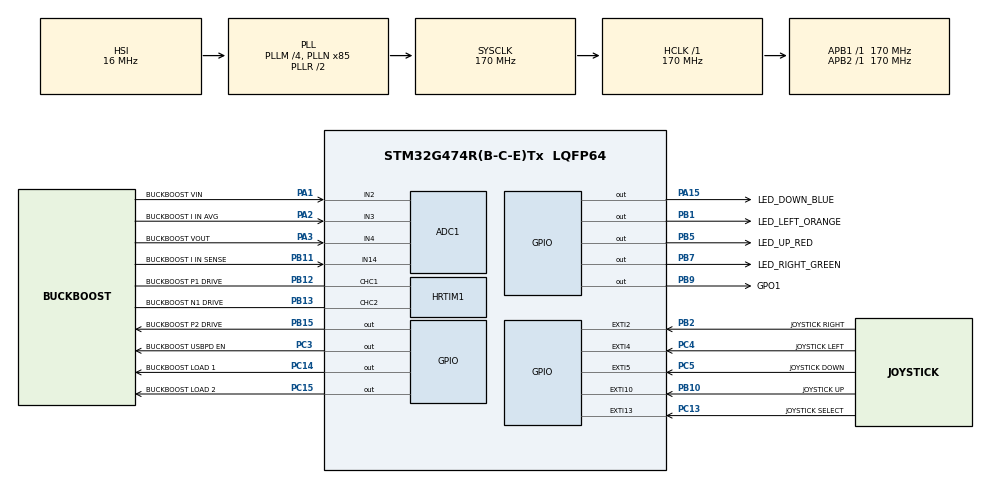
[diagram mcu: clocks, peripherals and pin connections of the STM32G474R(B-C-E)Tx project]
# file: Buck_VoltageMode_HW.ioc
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ADC1.Channel-0\#ChannelRegularConversion=ADC_CHANNEL_4
ADC1.DMAContinuousRequests=ENABLE
ADC1.DataAlign=ADC_DATAALIGN_LEFT
ADC1.ExternalTrigConv=ADC_EXTERNALTRIG_HRTIM_TRG1
ADC1.NbrOfConversionFlag=1
ADC1.Offset-0\#ChannelRegularConversion=REF
ADC1.OffsetNumber-0\#ChannelRegularConversion=ADC_OFFSET_1
ADC1.Overrun=ADC_OVR_DATA_OVERWRITTEN
ADC1.Rank-0\#ChannelRegularConversion=1
ADC1.SamplingTime-0\#ChannelRegularConversion=ADC_SAMPLETIME_2CYCLES_5
ADC1.master=1
Dma.ADC1.0.Direction=DMA_PERIPH_TO_MEMORY
Dma.ADC1.0.EventEnable=DISABLE
Dma.ADC1.0.Instance=DMA1_Channel1
Dma.ADC1.0.MemDataAlignment=DMA_MDATAALIGN_WORD
Dma.ADC1.0.MemInc=DMA_MINC_DISABLE
Dma.ADC1.0.Mode=DMA_CIRCULAR
Dma.ADC1.0.PeriphDataAlignment=DMA_PDATAALIGN_WORD
Dma.ADC1.0.PeriphInc=DMA_PINC_DISABLE
Dma.ADC1.0.Polarity=HAL_DMAMUX_REQ_GEN_RISING
Dma.ADC1.0.Priority=DMA_PRIORITY_LOW
Dma.ADC1.0.RequestNumber=1
Dma.ADC1.0.SignalID=HAL_DMAMUX1_REQ_GEN_EXTI2
Dma.ADC1.0.SyncEnable=DISABLE
Dma.ADC1.0.SyncPolarity=HAL_DMAMUX_SYNC_NO_EVENT
Dma.ADC1.0.SyncRequestNumber=1
Dma.ADC1.0.SyncSignalID=NONE
Dma.Request0=ADC1
HRTIM1.ADCTrigger1_Source1=HRTIM_ADCTRIGGEREVENT13_TIMERC_CMP3
HRTIM1.ADCTrigger_Id1=HRTIM_ADCTRIGGER_1
HRTIM1.CompareUnit1-Output_TC1TC2=HRTIM_COMPAREUNIT_1
HRTIM1.CompareUnit2-Output_TC1TC2=HRTIM_COMPAREUNIT_2
HRTIM1.CompareUnit3-Output_TC1TC2=HRTIM_COMPAREUNIT_3
HRTIM1.CompareValue1-Output_TC1TC2=0
HRTIM1.CompareValue2-Output_TC1TC2=24480
HRTIM1.CompareValue3-Output_TC1TC2=50
HRTIM1.DeadTimeInsertion-Output_TC1TC2=HRTIM_TIMDEADTIMEINSERTION_ENABLED
HRTIM1.FallingValue-Output_TC1TC2=300
HRTIM1.FaultLevel1-Output_TC1TC2=HRTIM_OUTPUTFAULTLEVEL_INACTIVE
HRTIM1.FaultLevel2-Output_TC1TC2=HRTIM_OUTPUTFAULTLEVEL_INACTIVE
HRTIM1.GreaterCMP1_TC=HRTIM_TIMERGTCMP1_EQUAL
HRTIM1.NumberADCTriggerSource1=1
HRTIM1.NumberResetSource1-Output_TC1TC2=2
HRTIM1.NumberSetSource1-Output_TC1TC2=1
HRTIM1.Periode_TC=27200
HRTIM1.PreloadEnable-Output_TC1TC2=HRTIM_PRELOAD_DISABLED
HRTIM1.ResetOutput1_Source1-Output_TC1TC2=HRTIM_OUTPUTRESET_TIMCMP1
HRTIM1.ResetOutput1_Source2-Output_TC1TC2=HRTIM_OUTPUTRESET_TIMCMP2
HRTIM1.RisingValue-Output_TC1TC2=75
HRTIM1.SetOutput1_Source1-Output_TC1TC2=HRTIM_OUTPUTSET_TIMPER
Mcu.Family=STM32G4
Mcu.Name=STM32G474R(B-C-E)Tx
Mcu.Package=LQFP64
NVIC.DMA1_Channel1_IRQn=true\:0\:0\:false\:false\:false\:false\:false
NVIC.EXTI15_10_IRQn=true\:0\:0\:false\:false\:true\:true\:true
NVIC.EXTI2_IRQn=true\:0\:0\:false\:false\:true\:true\:true
NVIC.EXTI4_IRQn=true\:0\:0\:false\:false\:true\:true\:true
NVIC.EXTI9_5_IRQn=true\:0\:0\:false\:false\:true\:true\:true
NVIC.FMAC_IRQn=true\:0\:0\:false\:false\:true\:true\:false
NVIC.PriorityGroup=NVIC_PRIORITYGROUP_4
PA1.GPIO_Label=BUCKBOOST VIN
PA1.Mode=IN2-Single-Ended
PA1.Signal=ADC1_IN2
PA13.GPIO_Label=T_SWDIO
PA13.Mode=Trace_Asynchronous_SW
PA13.Signal=SYS_JTMS-SWDIO
PA14.GPIO_Label=T_SWCLK
PA14.Mode=Trace_Asynchronous_SW
PA14.Signal=SYS_JTCK-SWCLK
PA15.GPIO_Label=LED_DOWN_BLUE
PA15.GPIO_PuPd=GPIO_NOPULL
PA15.Signal=GPIO_Output
PA2.GPIO_Label=BUCKBOOST I IN AVG
PA2.Mode=IN3-Single-Ended
PA2.Signal=ADC1_IN3
PA3.GPIO_Label=BUCKBOOST VOUT
PA3.Mode=IN4-Single-Ended
PA3.Signal=ADC1_IN4
PB1.GPIO_Label=LED_LEFT_ORANGE
PB1.GPIO_PuPd=GPIO_NOPULL
PB1.Signal=GPIO_Output
PB10.GPIO_Label=JOYSTICK UP
PB10.GPIO_PuPd=GPIO_PULLUP
PB10.Signal=GPXTI10
PB11.GPIO_Label=BUCKBOOST I IN SENSE
PB11.Mode=IN14-Single-Ended
PB11.Signal=ADC1_IN14
PB12.GPIO_Label=BUCKBOOST P1 DRIVE
PB12.Mode=Output_TC1TC2
PB12.Signal=HRTIM1_CHC1
PB13.GPIO_Label=BUCKBOOST N1 DRIVE
PB13.Mode=Output_TC1TC2
PB13.Signal=HRTIM1_CHC2
PB14.GPIO_Label=BUCKBOOST N2 DRIVE
PB14.Signal=HRTIM1_CHD1
PB15.GPIO_Label=BUCKBOOST P2 DRIVE
PB15.Signal=GPIO_Output
PB2.GPIO_Label=JOYSTICK RIGHT
PB2.GPIO_ModeDefaultEXTI=GPIO_MODE_IT_RISING
PB2.GPIO_PuPd=GPIO_PULLUP
PB2.Signal=GPXTI2
PB3.GPIO_Label=T_SWO
PB3.Mode=Trace_Asynchronous_SW
PB3.Signal=SYS_JTDO-SWO
PB5.GPIO_Label=LED_UP_RED
PB5.GPIO_PuPd=GPIO_NOPULL
PB5.Signal=GPIO_Output
PB7.GPIO_Label=LED_RIGHT_GREEN
PB7.GPIO_PuPd=GPIO_NOPULL
PB7.Signal=GPIO_Output
PB9.GPIO_Label=GPO1
PB9.GPIO_Speed=GPIO_SPEED_FREQ_VERY_HIGH
PB9.Signal=GPIO_Output
PC10.Signal=USART3_TX
PC11.Signal=USART3_RX
PC13.GPIO_Label=JOYSTICK SELECT
PC13.GPIO_PuPd=GPIO_PULLUP
PC13.Signal=GPXTI13
PC14-OSC32_IN.GPIO_Label=BUCKBOOST LOAD 1
PC14-OSC32_IN.Signal=GPIO_Output
PC15-OSC32_OUT.GPIO_Label=BUCKBOOST LOAD 2
PC15-OSC32_OUT.Signal=GPIO_Output
PC3.GPIO_Label=BUCKBOOST USBPD EN
PC3.PinState=GPIO_PIN_SET
PC3.Signal=GPIO_Output
PC4.GPIO_Label=JOYSTICK LEFT
PC4.GPIO_PuPd=GPIO_PULLUP
PC4.Signal=GPXTI4
PC5.GPIO_Label=JOYSTICK DOWN
PC5.GPIO_PuPd=GPIO_PULLUP
PC5.Signal=GPXTI5
ProjectManager.HeapSize=0x200
ProjectManager.StackSize=0x400
ProjectManager.TargetToolchain=MDK-ARM V5.27
RCC.ADC12CLockSelection=RCC_ADC12CLKSOURCE_PLL
RCC.ADC12Freq_Value=34000000
RCC.ADC345Freq_Value=170000000
RCC.AHBFreq_Value=170000000
RCC.APB1Freq_Value=170000000
RCC.APB1TimFreq_Value=170000000
RCC.APB2Freq_Value=170000000
RCC.APB2TimFreq_Value=170000000
RCC.CortexFreq_Value=170000000
RCC.EXTERNAL_CLOCK_VALUE=12288000
RCC.HCLKFreq_Value=170000000
RCC.HSE_VALUE=24000000
RCC.HSI48_VALUE=48000000
RCC.HSI_VALUE=16000000
RCC.LSE_VALUE=32768
RCC.PLLM=RCC_PLLM_DIV4
RCC.PLLN=85
RCC.PLLP=RCC_PLLP_DIV10
RCC.SYSCLKFreq_VALUE=170000000
RCC.SYSCLKSource=RCC_SYSCLKSOURCE_PLLCLK
RCC.USBFreq_Value=170000000
RCC.VCOOutputFreq_Value=340000000
VP_FMAC_VS_FMAC.Mode=FMAC_Activate
VP_RTC_VS_RTC_Activate.Mode=RTC_Enabled
VP_SYS_VS_DBSignals.Mode=DisableDeadBatterySignals
board=NUCLEO-G474RE

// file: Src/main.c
/* USER CODE BEGIN Header */
/**
  ******************************************************************************
  * @file           : main.c
  * @brief          : Main program body
  ******************************************************************************
  * @attention
  *
  * <h2><center>&copy; Copyright (c) 2019 STMicroelectronics.
  * All rights reserved.</center></h2>
  *
  * This software component is licensed by ST under BSD 3-Clause license,
  * the "License"; You may not use this file except in compliance with the
  * License. You may obtain a copy of the License at:
  *                        opensource.org/licenses/BSD-3-Clause
  *
  ******************************************************************************
  */
/* USER CODE END Header */
#include "main.h"

/* USER CODE BEGIN Includes */
#include "../../common/STM32G474RE_Discovery.c" //include functions for board
#include "stm32g4xx_it.h"
/* USER CODE END Includes */

/* USER CODE BEGIN PD */
//#define RUN_OPEN_LOOP
/* USER CODE END PD */

ADC_HandleTypeDef hadc1;
DMA_HandleTypeDef hdma_adc1;

FMAC_HandleTypeDef hfmac;

HRTIM_HandleTypeDef hhrtim1;

RTC_HandleTypeDef hrtc;

/* USER CODE BEGIN PV */
/* FMAC configuration structure */
FMAC_FilterConfigTypeDef sFmacConfig;
DMA_HandleTypeDef hdma_fmac_read;

/* Array of filter coefficients A (feedback coefficients) in Q1.15 format */
static int16_t aFilterCoeffA[COEFF_VECTOR_A_SIZE] = {A1,A2,A3};

/* Array of filter coefficients B (feed-forward taps) in Q1.15 format */
static int16_t aFilterCoeffB[COEFF_VECTOR_B_SIZE] = {(int16_t)-B0,(int16_t)-B1,(int16_t)-B2,(int16_t)-B3};

/* Array of output data to preload in Q1.15 format */
static int16_t aOutputDataToPreload[COEFF_VECTOR_A_SIZE] = {0x0000, 0x0000, 0x0000};

/* Expected number of calculated samples */
uint16_t ExpectedCalculatedOutputSize = (uint16_t) 1;
uint32_t *Fmac_Wdata;
int16_t Fmac_output;
int16_t bTransient = 0;
int32_t Vout;
int32_t CompareReg;

/* USER CODE END PV */

void SystemClock_Config(void);
static void MX_GPIO_Init(void);
static void MX_DMA_Init(void);
static void MX_RTC_Init(void);
static void MX_ADC1_Init(void);
static void MX_HRTIM1_Init(void);
static void MX_FMAC_Init(void);

/* USER CODE BEGIN 0 */
/**
  * @brief This function handles the loads.
  */
void LoadHandler(void)
{
  switch (Demo.NbrActiveLoad)
  {
  case 2:
    /* Enable Load_1 */
    HAL_GPIO_WritePin(GPIOC, BUCKBOOST_LOAD_1_Pin, GPIO_PIN_SET);
    HAL_GPIO_WritePin(GPIOB, LED_RIGHT_GREEN_Pin, GPIO_PIN_SET);
    /* Enable Load_2 */
    HAL_GPIO_WritePin(GPIOC, BUCKBOOST_LOAD_2_Pin, GPIO_PIN_SET);
    HAL_GPIO_WritePin(GPIOB, LED_LEFT_ORANGE_Pin, GPIO_PIN_SET);
    break;
  case 1:
    /* Enable Load_1 */
    HAL_GPIO_WritePin(GPIOC, BUCKBOOST_LOAD_1_Pin, GPIO_PIN_SET);
    HAL_GPIO_WritePin(GPIOB, LED_RIGHT_GREEN_Pin, GPIO_PIN_SET);
    /* Disable Load_2 */
    HAL_GPIO_WritePin(GPIOC, BUCKBOOST_LOAD_2_Pin, GPIO_PIN_RESET);
    HAL_GPIO_WritePin(GPIOB, LED_LEFT_ORANGE_Pin, GPIO_PIN_RESET);
    break;
  case 0:
  default:
    /* Disable Load_1 */
    HAL_GPIO_WritePin(GPIOC, BUCKBOOST_LOAD_1_Pin, GPIO_PIN_RESET);
    HAL_GPIO_WritePin(GPIOB, LED_RIGHT_GREEN_Pin, GPIO_PIN_RESET);
    /* Disable Load_2 */
    HAL_GPIO_WritePin(GPIOC, BUCKBOOST_LOAD_2_Pin, GPIO_PIN_RESET);
    HAL_GPIO_WritePin(GPIOB, LED_LEFT_ORANGE_Pin, GPIO_PIN_RESET);
    break;
  }
}

/**
  * @brief This function handles System tick timer.
  */
void SysTick_Handler(void)
{
  /* USER CODE BEGIN SysTick_IRQn 0 */

  // If ~512 ms has elapsed, check if we are doing transient load mode
  // and run the load handler
  if (0 == HAL_GetTick() % 512)
  {
    if (Demo.bTransient == 1)
    {
      if (Demo.NbrActiveLoad == 1)
      {
        Demo.NbrActiveLoad = 2;
      }
      else
      {
        Demo.NbrActiveLoad = 1;
      }
      LoadHandler();
    }
  }

  /* USER CODE END SysTick_IRQn 0 */
  HAL_IncTick();
  /* USER CODE BEGIN SysTick_IRQn 1 */

  /* USER CODE END SysTick_IRQn 1 */
}
/* USER CODE END 0 */

int main(void)
{

  /* MCU Configuration--------------------------------------------------------*/

  /* Reset of all peripherals, Initializes the Flash interface and the Systick. */
  HAL_Init();

  /* Configure the system clock */
  SystemClock_Config();

  /* Initialize all configured peripherals */
  MX_GPIO_Init();
  MX_DMA_Init();
  MX_RTC_Init();
  MX_ADC1_Init();
  MX_HRTIM1_Init();
  MX_FMAC_Init();
  /* USER CODE BEGIN 2 */

     /*## Configure the FMAC peripheral ###########################################*/
  sFmacConfig.InputBaseAddress  = INPUT_BUFFER_BASE;
  sFmacConfig.InputBufferSize   = INPUT_BUFFER_SIZE;
  sFmacConfig.InputThreshold    = INPUT_THRESHOLD;
  sFmacConfig.CoeffBaseAddress  = COEFFICIENT_BUFFER_BASE;
  sFmacConfig.CoeffBufferSize   = COEFFICIENT_BUFFER_SIZE;
  sFmacConfig.OutputBaseAddress = OUTPUT_BUFFER_BASE;
  sFmacConfig.OutputBufferSize  = OUTPUT_BUFFER_SIZE;
  sFmacConfig.OutputThreshold   = OUTPUT_THRESHOLD;
  sFmacConfig.pCoeffA           = aFilterCoeffA;
  sFmacConfig.CoeffASize        = COEFF_VECTOR_A_SIZE;
  sFmacConfig.pCoeffB           = aFilterCoeffB;
  sFmacConfig.CoeffBSize        = COEFF_VECTOR_B_SIZE;
  sFmacConfig.Filter            = FMAC_FUNC_IIR_DIRECT_FORM_1;
  sFmacConfig.InputAccess       = FMAC_BUFFER_ACCESS_NONE;
  sFmacConfig.OutputAccess      = FMAC_BUFFER_ACCESS_IT;
  sFmacConfig.Clip              = FMAC_CLIP_ENABLED;
  sFmacConfig.P                 = COEFF_VECTOR_B_SIZE;
  sFmacConfig.Q                 = COEFF_VECTOR_A_SIZE;
  sFmacConfig.R                 = post_shift;

  if (HAL_FMAC_FilterConfig(&hfmac, &sFmacConfig) != HAL_OK)
  {
    /* Configuration Error */
    Error_Handler();
  }

  /*## Preload the input and output buffers ####################################*/
  if (HAL_FMAC_FilterPreload(&hfmac, NULL, INPUT_BUFFER_SIZE,
                           aOutputDataToPreload, COEFF_VECTOR_A_SIZE) != HAL_OK)
  {
    /* Configuration Error */
    Error_Handler();
  }
  /* Start calculation of IIR filter */
   if (HAL_FMAC_FilterStart(&hfmac,&Fmac_output,&ExpectedCalculatedOutputSize) != HAL_OK)
  {
    /* Processing Error */
    Error_Handler();
  }

  /* Perform an ADC automatic self-calibration and enable ADC */
  if (HAL_ADCEx_Calibration_Start(&hadc1, ADC_SINGLE_ENDED) != HAL_OK)
  {
    /* Configuration Error */
    Error_Handler();
  }

#ifndef RUN_OPEN_LOOP
  /* Start the DMA which is used to move ADC result to the FMAC */
  if (HAL_ADC_Start_DMA(&hadc1, (uint32_t *) &hfmac.Instance->WDATA, 1) != HAL_OK)
  {
    /* Configuration Error */
    Error_Handler();
  }
#endif

  /* Calculate PWM period and update timer register */
  Demo.periodBuck = HAL_HRTIM_FreqToTicks(&hhrtim1, HRTIM_TIMERINDEX_TIMER_C, SwitchFreq);
  __HAL_HRTIM_SETPERIOD(&hhrtim1, HRTIM_TIMERINDEX_TIMER_C, Demo.periodBuck);

#ifdef RUN_OPEN_LOOP
  /* Open loop so run with a small fixed duty cycle */
  __HAL_HRTIM_SETCOMPARE(&hhrtim1, HRTIM_TIMERINDEX_TIMER_C, HRTIM_COMPAREUNIT_1, Demo.periodBuck * 5 / 100);
#else
  /* Set max duty to 80% of period */
  __HAL_HRTIM_SETCOMPARE(&hhrtim1, HRTIM_TIMERINDEX_TIMER_C, HRTIM_COMPAREUNIT_1, Demo.periodBuck * 80 / 100);
#endif

  /* Start the PWMs */
  HAL_HRTIM_WaveformOutputStart(&hhrtim1, HRTIM_OUTPUT_TC1 | HRTIM_OUTPUT_TC2);
  HAL_HRTIM_WaveformCounterStart(&hhrtim1, HRTIM_TIMERID_TIMER_C);

  /* Enable T6 for Buck only mode usage */
  HAL_GPIO_WritePin(GPIOB, BUCKBOOST_P2_DRIVE_Pin, GPIO_PIN_SET);

  Waveform.m_State = WAVEFORM_WAIT_FOR_TRIGGER;

  /* USER CODE END 2 */

  /* Infinite loop */
  /* USER CODE BEGIN WHILE */
  while (1)
  {
    if (bTransient)
    {

      HAL_GPIO_WritePin(GPIOA, LED_DOWN_BLUE_Pin, GPIO_PIN_SET);

      // Toggle both Loads
      HAL_GPIO_TogglePin(GPIOC, BUCKBOOST_LOAD_1_Pin);
      HAL_GPIO_TogglePin(GPIOC, BUCKBOOST_LOAD_2_Pin);
      HAL_GPIO_TogglePin(GPIOB, LED_RIGHT_GREEN_Pin);
      HAL_GPIO_TogglePin(GPIOB, LED_LEFT_ORANGE_Pin);

      // Delay
      HAL_Delay(500);
    } else {
      HAL_GPIO_WritePin(GPIOA, LED_DOWN_BLUE_Pin, GPIO_PIN_RESET);
    }

    /* USER CODE END WHILE */

  }
}

void SystemClock_Config(void)
{
  RCC_OscInitTypeDef RCC_OscInitStruct = {0};
  RCC_ClkInitTypeDef RCC_ClkInitStruct = {0};
  RCC_PeriphCLKInitTypeDef PeriphClkInit = {0};

  /** Configure the main internal regulator output voltage
  */
  HAL_PWREx_ControlVoltageScaling(PWR_REGULATOR_VOLTAGE_SCALE1_BOOST);
  /** Initializes the RCC Oscillators according to the specified parameters
  * in the RCC_OscInitTypeDef structure.
  */
  RCC_OscInitStruct.OscillatorType = RCC_OSCILLATORTYPE_HSI|RCC_OSCILLATORTYPE_LSI;
  RCC_OscInitStruct.HSIState = RCC_HSI_ON;
  RCC_OscInitStruct.HSICalibrationValue = RCC_HSICALIBRATION_DEFAULT;
  RCC_OscInitStruct.LSIState = RCC_LSI_ON;
  RCC_OscInitStruct.PLL.PLLState = RCC_PLL_ON;
  RCC_OscInitStruct.PLL.PLLSource = RCC_PLLSOURCE_HSI;
  RCC_OscInitStruct.PLL.PLLM = RCC_PLLM_DIV4;
  RCC_OscInitStruct.PLL.PLLN = 85;
  RCC_OscInitStruct.PLL.PLLP = RCC_PLLP_DIV10;
  RCC_OscInitStruct.PLL.PLLQ = RCC_PLLQ_DIV2;
  RCC_OscInitStruct.PLL.PLLR = RCC_PLLR_DIV2;
  if (HAL_RCC_OscConfig(&RCC_OscInitStruct) != HAL_OK)
  {
    Error_Handler();
  }
  /** Initializes the CPU, AHB and APB buses clocks
  */
  RCC_ClkInitStruct.ClockType = RCC_CLOCKTYPE_HCLK|RCC_CLOCKTYPE_SYSCLK
                              |RCC_CLOCKTYPE_PCLK1|RCC_CLOCKTYPE_PCLK2;
  RCC_ClkInitStruct.SYSCLKSource = RCC_SYSCLKSOURCE_PLLCLK;
  RCC_ClkInitStruct.AHBCLKDivider = RCC_SYSCLK_DIV1;
  RCC_ClkInitStruct.APB1CLKDivider = RCC_HCLK_DIV1;
  RCC_ClkInitStruct.APB2CLKDivider = RCC_HCLK_DIV1;

  if (HAL_RCC_ClockConfig(&RCC_ClkInitStruct, FLASH_LATENCY_4) != HAL_OK)
  {
    Error_Handler();
  }
  /** Initializes the peripherals clocks
  */
  PeriphClkInit.PeriphClockSelection = RCC_PERIPHCLK_RTC|RCC_PERIPHCLK_ADC12;
  PeriphClkInit.Adc12ClockSelection = RCC_ADC12CLKSOURCE_PLL;
  PeriphClkInit.RTCClockSelection = RCC_RTCCLKSOURCE_LSI;
  if (HAL_RCCEx_PeriphCLKConfig(&PeriphClkInit) != HAL_OK)
  {
    Error_Handler();
  }
}

static void MX_ADC1_Init(void)
{

  ADC_MultiModeTypeDef multimode = {0};
  ADC_ChannelConfTypeDef sConfig = {0};

  /** Common config
  */
  hadc1.Instance = ADC1;
  hadc1.Init.ClockPrescaler = ADC_CLOCK_SYNC_PCLK_DIV4;
  hadc1.Init.Resolution = ADC_RESOLUTION_12B;
  hadc1.Init.DataAlign = ADC_DATAALIGN_LEFT;
  hadc1.Init.GainCompensation = 0;
  hadc1.Init.ScanConvMode = ADC_SCAN_DISABLE;
  hadc1.Init.EOCSelection = ADC_EOC_SINGLE_CONV;
  hadc1.Init.LowPowerAutoWait = DISABLE;
  hadc1.Init.ContinuousConvMode = DISABLE;
  hadc1.Init.NbrOfConversion = 1;
  hadc1.Init.DiscontinuousConvMode = DISABLE;
  hadc1.Init.ExternalTrigConv = ADC_EXTERNALTRIG_HRTIM_TRG1;
  hadc1.Init.ExternalTrigConvEdge = ADC_EXTERNALTRIGCONVEDGE_RISING;
  hadc1.Init.DMAContinuousRequests = ENABLE;
  hadc1.Init.Overrun = ADC_OVR_DATA_OVERWRITTEN;
  hadc1.Init.OversamplingMode = DISABLE;
  if (HAL_ADC_Init(&hadc1) != HAL_OK)
  {
    Error_Handler();
  }
  /** Configure the ADC multi-mode
  */
  multimode.Mode = ADC_MODE_INDEPENDENT;
  if (HAL_ADCEx_MultiModeConfigChannel(&hadc1, &multimode) != HAL_OK)
  {
    Error_Handler();
  }
  /** Configure Regular Channel
  */
  sConfig.Channel = ADC_CHANNEL_4;
  sConfig.Rank = ADC_REGULAR_RANK_1;
  sConfig.SamplingTime = ADC_SAMPLETIME_2CYCLES_5;
  sConfig.SingleDiff = ADC_SINGLE_ENDED;
  sConfig.OffsetNumber = ADC_OFFSET_1;
  sConfig.Offset = REF;
  sConfig.OffsetSign = ADC_OFFSET_SIGN_NEGATIVE;
  sConfig.OffsetSaturation = DISABLE;
  if (HAL_ADC_ConfigChannel(&hadc1, &sConfig) != HAL_OK)
  {
    Error_Handler();
  }
  /* USER CODE BEGIN ADC1_Init 2 */
  /* CubeMX enables DMA interrupt even if not configured */
  HAL_NVIC_DisableIRQ(DMA1_Channel1_IRQn);
  /* USER CODE END ADC1_Init 2 */

}

static void MX_FMAC_Init(void)
{

  hfmac.Instance = FMAC;
  if (HAL_FMAC_Init(&hfmac) != HAL_OK)
  {
    Error_Handler();
  }

}

static void MX_HRTIM1_Init(void)
{

  HRTIM_ADCTriggerCfgTypeDef pADCTriggerCfg = {0};
  HRTIM_TimeBaseCfgTypeDef pTimeBaseCfg = {0};
  HRTIM_TimerCtlTypeDef pTimerCtl = {0};
  HRTIM_TimerCfgTypeDef pTimerCfg = {0};
  HRTIM_CompareCfgTypeDef pCompareCfg = {0};
  HRTIM_DeadTimeCfgTypeDef pDeadTimeCfg = {0};
  HRTIM_OutputCfgTypeDef pOutputCfg = {0};

  hhrtim1.Instance = HRTIM1;
  hhrtim1.Init.HRTIMInterruptResquests = HRTIM_IT_NONE;
  hhrtim1.Init.SyncOptions = HRTIM_SYNCOPTION_NONE;
  if (HAL_HRTIM_Init(&hhrtim1) != HAL_OK)
  {
    Error_Handler();
  }
  if (HAL_HRTIM_DLLCalibrationStart(&hhrtim1, HRTIM_CALIBRATIONRATE_3) != HAL_OK)
  {
    Error_Handler();
  }
  if (HAL_HRTIM_PollForDLLCalibration(&hhrtim1, 10) != HAL_OK)
  {
    Error_Handler();
  }
  pADCTriggerCfg.UpdateSource = HRTIM_ADCTRIGGERUPDATE_TIMER_C;
  pADCTriggerCfg.Trigger = HRTIM_ADCTRIGGEREVENT13_TIMERC_CMP3;
  if (HAL_HRTIM_ADCTriggerConfig(&hhrtim1, HRTIM_ADCTRIGGER_1, &pADCTriggerCfg) != HAL_OK)
  {
    Error_Handler();
  }
  if (HAL_HRTIM_ADCPostScalerConfig(&hhrtim1, HRTIM_ADCTRIGGER_1, 0x0) != HAL_OK)
  {
    Error_Handler();
  }
  pTimeBaseCfg.Period = 27200;
  pTimeBaseCfg.RepetitionCounter = 0x00;
  pTimeBaseCfg.PrescalerRatio = HRTIM_PRESCALERRATIO_MUL32;
  pTimeBaseCfg.Mode = HRTIM_MODE_CONTINUOUS;
  if (HAL_HRTIM_TimeBaseConfig(&hhrtim1, HRTIM_TIMERINDEX_TIMER_C, &pTimeBaseCfg) != HAL_OK)
  {
    Error_Handler();
  }
  pTimerCtl.UpDownMode = HRTIM_TIMERUPDOWNMODE_UP;
  pTimerCtl.TrigHalf = HRTIM_TIMERTRIGHALF_DISABLED;
  pTimerCtl.GreaterCMP3 = HRTIM_TIMERGTCMP3_EQUAL;
  pTimerCtl.GreaterCMP1 = HRTIM_TIMERGTCMP1_EQUAL;
  pTimerCtl.DualChannelDacEnable = HRTIM_TIMER_DCDE_DISABLED;
  if (HAL_HRTIM_WaveformTimerControl(&hhrtim1, HRTIM_TIMERINDEX_TIMER_C, &pTimerCtl) != HAL_OK)
  {
    Error_Handler();
  }
  pTimerCfg.InterruptRequests = HRTIM_TIM_IT_NONE;
  pTimerCfg.DMARequests = HRTIM_TIM_DMA_NONE;
  pTimerCfg.DMASrcAddress = 0x0000;
  pTimerCfg.DMADstAddress = 0x0000;
  pTimerCfg.DMASize = 0x1;
  pTimerCfg.HalfModeEnable = HRTIM_HALFMODE_DISABLED;
  pTimerCfg.InterleavedMode = HRTIM_INTERLEAVED_MODE_DISABLED;
  pTimerCfg.StartOnSync = HRTIM_SYNCSTART_DISABLED;
  pTimerCfg.ResetOnSync = HRTIM_SYNCRESET_DISABLED;
  pTimerCfg.DACSynchro = HRTIM_DACSYNC_NONE;
  pTimerCfg.PreloadEnable = HRTIM_PRELOAD_DISABLED;
  pTimerCfg.UpdateGating = HRTIM_UPDATEGATING_INDEPENDENT;
  pTimerCfg.BurstMode = HRTIM_TIMERBURSTMODE_MAINTAINCLOCK;
  pTimerCfg.RepetitionUpdate = HRTIM_UPDATEONREPETITION_DISABLED;
  pTimerCfg.PushPull = HRTIM_TIMPUSHPULLMODE_DISABLED;
  pTimerCfg.FaultEnable = HRTIM_TIMFAULTENABLE_NONE;
  pTimerCfg.FaultLock = HRTIM_TIMFAULTLOCK_READWRITE;
  pTimerCfg.DeadTimeInsertion = HRTIM_TIMDEADTIMEINSERTION_ENABLED;
  pTimerCfg.DelayedProtectionMode = HRTIM_TIMER_A_B_C_DELAYEDPROTECTION_DISABLED;
  pTimerCfg.UpdateTrigger = HRTIM_TIMUPDATETRIGGER_NONE;
  pTimerCfg.ResetTrigger = HRTIM_TIMRESETTRIGGER_NONE;
  pTimerCfg.ResetUpdate = HRTIM_TIMUPDATEONRESET_DISABLED;
  pTimerCfg.ReSyncUpdate = HRTIM_TIMERESYNC_UPDATE_UNCONDITIONAL;
  if (HAL_HRTIM_WaveformTimerConfig(&hhrtim1, HRTIM_TIMERINDEX_TIMER_C, &pTimerCfg) != HAL_OK)
  {
    Error_Handler();
  }
  pCompareCfg.CompareValue = 0;
  if (HAL_HRTIM_WaveformCompareConfig(&hhrtim1, HRTIM_TIMERINDEX_TIMER_C, HRTIM_COMPAREUNIT_1, &pCompareCfg) != HAL_OK)
  {
    Error_Handler();
  }
  pCompareCfg.CompareValue = 24480;
  pCompareCfg.AutoDelayedMode = HRTIM_AUTODELAYEDMODE_REGULAR;
  pCompareCfg.AutoDelayedTimeout = 0x0000;

  if (HAL_HRTIM_WaveformCompareConfig(&hhrtim1, HRTIM_TIMERINDEX_TIMER_C, HRTIM_COMPAREUNIT_2, &pCompareCfg) != HAL_OK)
  {
    Error_Handler();
  }
  pCompareCfg.CompareValue = 50;
  if (HAL_HRTIM_WaveformCompareConfig(&hhrtim1, HRTIM_TIMERINDEX_TIMER_C, HRTIM_COMPAREUNIT_3, &pCompareCfg) != HAL_OK)
  {
    Error_Handler();
  }
  pDeadTimeCfg.Prescaler = HRTIM_TIMDEADTIME_PRESCALERRATIO_MUL8;
  pDeadTimeCfg.RisingValue = 75;
  pDeadTimeCfg.RisingSign = HRTIM_TIMDEADTIME_RISINGSIGN_POSITIVE;
  pDeadTimeCfg.RisingLock = HRTIM_TIMDEADTIME_RISINGLOCK_WRITE;
  pDeadTimeCfg.RisingSignLock = HRTIM_TIMDEADTIME_RISINGSIGNLOCK_WRITE;
  pDeadTimeCfg.FallingValue = 300;
  pDeadTimeCfg.FallingSign = HRTIM_TIMDEADTIME_FALLINGSIGN_POSITIVE;
  pDeadTimeCfg.FallingLock = HRTIM_TIMDEADTIME_FALLINGLOCK_WRITE;
  pDeadTimeCfg.FallingSignLock = HRTIM_TIMDEADTIME_FALLINGSIGNLOCK_WRITE;
  if (HAL_HRTIM_DeadTimeConfig(&hhrtim1, HRTIM_TIMERINDEX_TIMER_C, &pDeadTimeCfg) != HAL_OK)
  {
    Error_Handler();
  }
  pOutputCfg.Polarity = HRTIM_OUTPUTPOLARITY_HIGH;
  pOutputCfg.SetSource = HRTIM_OUTPUTSET_TIMPER;
  pOutputCfg.ResetSource = HRTIM_OUTPUTRESET_TIMCMP1|HRTIM_OUTPUTRESET_TIMCMP2;
  pOutputCfg.IdleMode = HRTIM_OUTPUTIDLEMODE_NONE;
  pOutputCfg.IdleLevel = HRTIM_OUTPUTIDLELEVEL_INACTIVE;
  pOutputCfg.FaultLevel = HRTIM_OUTPUTFAULTLEVEL_INACTIVE;
  pOutputCfg.ChopperModeEnable = HRTIM_OUTPUTCHOPPERMODE_DISABLED;
  pOutputCfg.BurstModeEntryDelayed = HRTIM_OUTPUTBURSTMODEENTRY_REGULAR;
  if (HAL_HRTIM_WaveformOutputConfig(&hhrtim1, HRTIM_TIMERINDEX_TIMER_C, HRTIM_OUTPUT_TC1, &pOutputCfg) != HAL_OK)
  {
    Error_Handler();
  }
  pOutputCfg.SetSource = HRTIM_OUTPUTSET_NONE;
  pOutputCfg.ResetSource = HRTIM_OUTPUTRESET_NONE;
  if (HAL_HRTIM_WaveformOutputConfig(&hhrtim1, HRTIM_TIMERINDEX_TIMER_C, HRTIM_OUTPUT_TC2, &pOutputCfg) != HAL_OK)
  {
    Error_Handler();
  }
  HAL_HRTIM_MspPostInit(&hhrtim1);

}

static void MX_RTC_Init(void)
{

  /** Initialize RTC Only
  */
  hrtc.Instance = RTC;
  hrtc.Init.HourFormat = RTC_HOURFORMAT_24;
  hrtc.Init.AsynchPrediv = 127;
  hrtc.Init.SynchPrediv = 255;
  hrtc.Init.OutPut = RTC_OUTPUT_DISABLE;
  hrtc.Init.OutPutRemap = RTC_OUTPUT_REMAP_NONE;
  hrtc.Init.OutPutPolarity = RTC_OUTPUT_POLARITY_HIGH;
  hrtc.Init.OutPutType = RTC_OUTPUT_TYPE_OPENDRAIN;
  hrtc.Init.OutPutPullUp = RTC_OUTPUT_PULLUP_NONE;
  if (HAL_RTC_Init(&hrtc) != HAL_OK)
  {
    Error_Handler();
  }

}

static void MX_DMA_Init(void)
{

  /* DMA controller clock enable */
  __HAL_RCC_DMAMUX1_CLK_ENABLE();
  __HAL_RCC_DMA1_CLK_ENABLE();

  /* DMA interrupt init */
  /* DMA1_Channel1_IRQn interrupt configuration */
  HAL_NVIC_SetPriority(DMA1_Channel1_IRQn, 0, 0);
  HAL_NVIC_EnableIRQ(DMA1_Channel1_IRQn);

}

static void MX_GPIO_Init(void)
{
  GPIO_InitTypeDef GPIO_InitStruct = {0};

  /* GPIO Ports Clock Enable */
  __HAL_RCC_GPIOC_CLK_ENABLE();
  __HAL_RCC_GPIOA_CLK_ENABLE();
  __HAL_RCC_GPIOB_CLK_ENABLE();

  /*Configure GPIO pin Output Level */
  HAL_GPIO_WritePin(GPIOC, BUCKBOOST_LOAD_1_Pin|BUCKBOOST_LOAD_2_Pin, GPIO_PIN_RESET);

  /*Configure GPIO pin Output Level */
  HAL_GPIO_WritePin(BUCKBOOST_USBPD_EN_GPIO_Port, BUCKBOOST_USBPD_EN_Pin, GPIO_PIN_SET);

  /*Configure GPIO pin Output Level */
  HAL_GPIO_WritePin(GPIOB, LED_LEFT_ORANGE_Pin|BUCKBOOST_P2_DRIVE_Pin|LED_UP_RED_Pin|LED_RIGHT_GREEN_Pin
                          |GPO1_Pin, GPIO_PIN_RESET);

  /*Configure GPIO pin Output Level */
  HAL_GPIO_WritePin(LED_DOWN_BLUE_GPIO_Port, LED_DOWN_BLUE_Pin, GPIO_PIN_RESET);

  /*Configure GPIO pins : JOYSTICK_SELECT_Pin JOYSTICK_LEFT_Pin JOYSTICK_DOWN_Pin */
  GPIO_InitStruct.Pin = JOYSTICK_SELECT_Pin|JOYSTICK_LEFT_Pin|JOYSTICK_DOWN_Pin;
  GPIO_InitStruct.Mode = GPIO_MODE_IT_RISING;
  GPIO_InitStruct.Pull = GPIO_PULLUP;
  HAL_GPIO_Init(GPIOC, &GPIO_InitStruct);

  /*Configure GPIO pins : BUCKBOOST_LOAD_1_Pin BUCKBOOST_LOAD_2_Pin BUCKBOOST_USBPD_EN_Pin */
  GPIO_InitStruct.Pin = BUCKBOOST_LOAD_1_Pin|BUCKBOOST_LOAD_2_Pin|BUCKBOOST_USBPD_EN_Pin;
  GPIO_InitStruct.Mode = GPIO_MODE_OUTPUT_PP;
  GPIO_InitStruct.Pull = GPIO_NOPULL;
  GPIO_InitStruct.Speed = GPIO_SPEED_FREQ_LOW;
  HAL_GPIO_Init(GPIOC, &GPIO_InitStruct);

  /*Configure GPIO pins : LED_LEFT_ORANGE_Pin BUCKBOOST_P2_DRIVE_Pin LED_UP_RED_Pin LED_RIGHT_GREEN_Pin */
  GPIO_InitStruct.Pin = LED_LEFT_ORANGE_Pin|BUCKBOOST_P2_DRIVE_Pin|LED_UP_RED_Pin|LED_RIGHT_GREEN_Pin;
  GPIO_InitStruct.Mode = GPIO_MODE_OUTPUT_PP;
  GPIO_InitStruct.Pull = GPIO_NOPULL;
  GPIO_InitStruct.Speed = GPIO_SPEED_FREQ_LOW;
  HAL_GPIO_Init(GPIOB, &GPIO_InitStruct);

  /*Configure GPIO pins : JOYSTICK_RIGHT_Pin JOYSTICK_UP_Pin */
  GPIO_InitStruct.Pin = JOYSTICK_RIGHT_Pin|JOYSTICK_UP_Pin;
  GPIO_InitStruct.Mode = GPIO_MODE_IT_RISING;
  GPIO_InitStruct.Pull = GPIO_PULLUP;
  HAL_GPIO_Init(GPIOB, &GPIO_InitStruct);

  /*Configure GPIO pin : LED_DOWN_BLUE_Pin */
  GPIO_InitStruct.Pin = LED_DOWN_BLUE_Pin;
  GPIO_InitStruct.Mode = GPIO_MODE_OUTPUT_PP;
  GPIO_InitStruct.Pull = GPIO_NOPULL;
  GPIO_InitStruct.Speed = GPIO_SPEED_FREQ_LOW;
  HAL_GPIO_Init(LED_DOWN_BLUE_GPIO_Port, &GPIO_InitStruct);

  /*Configure GPIO pins : PC10 PC11 */
  GPIO_InitStruct.Pin = GPIO_PIN_10|GPIO_PIN_11;
  GPIO_InitStruct.Mode = GPIO_MODE_AF_PP;
  GPIO_InitStruct.Pull = GPIO_NOPULL;
  GPIO_InitStruct.Speed = GPIO_SPEED_FREQ_LOW;
  GPIO_InitStruct.Alternate = GPIO_AF7_USART3;
  HAL_GPIO_Init(GPIOC, &GPIO_InitStruct);

  /*Configure GPIO pin : GPO1_Pin */
  GPIO_InitStruct.Pin = GPO1_Pin;
  GPIO_InitStruct.Mode = GPIO_MODE_OUTPUT_PP;
  GPIO_InitStruct.Pull = GPIO_NOPULL;
  GPIO_InitStruct.Speed = GPIO_SPEED_FREQ_VERY_HIGH;
  HAL_GPIO_Init(GPO1_GPIO_Port, &GPIO_InitStruct);

  /* EXTI interrupt init*/
  HAL_NVIC_SetPriority(EXTI2_IRQn, 0, 0);
  HAL_NVIC_EnableIRQ(EXTI2_IRQn);

  HAL_NVIC_SetPriority(EXTI4_IRQn, 0, 0);
  HAL_NVIC_EnableIRQ(EXTI4_IRQn);

  HAL_NVIC_SetPriority(EXTI9_5_IRQn, 0, 0);
  HAL_NVIC_EnableIRQ(EXTI9_5_IRQn);

  HAL_NVIC_SetPriority(EXTI15_10_IRQn, 0, 0);
  HAL_NVIC_EnableIRQ(EXTI15_10_IRQn);

}

void Error_Handler(void)
{
  /* USER CODE BEGIN Error_Handler_Debug */
  /* User can add his own implementation to report the HAL error return state */
	Demo_Error_Handler();

  /* USER CODE END Error_Handler_Debug */
}

/************************ (C) COPYRIGHT STMicroelectronics *****END OF FILE****/
